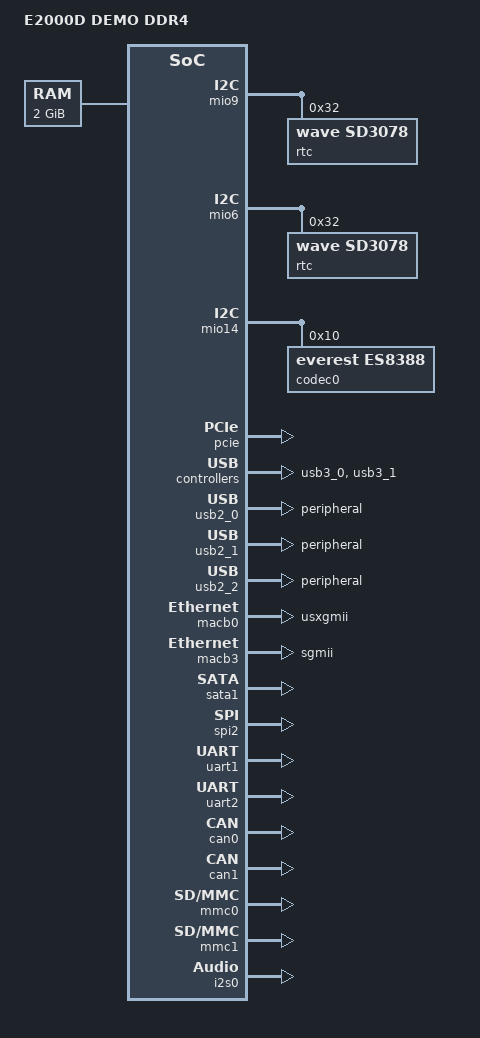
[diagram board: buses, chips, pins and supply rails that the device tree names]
// SPDX-License-Identifier: GPL-2.0
/*
 * DTS file for Phytium E2000D demo board
 *
 * Copyright (C) 2022, Phytium Technology Co., Ltd.
 */

/dts-v1/;
/memreserve/ 0x80000000 0x10000;

#include "e2000d.dtsi"

/{
	model = "E2000D DEMO DDR4";
	compatible = "phytium,e2000d";

	chosen {
		stdout-path = "serial1:115200n8";
	};

	memory@00{
		device_type = "memory";
		reg = <0x0 0x80000000 0x0 0x80000000>;
	};

	sound_card: sound {
		compatible = "simple-audio-card";
		simple-audio-card,format = "i2s";
		simple-audio-card,name = "phytium,e2000-i2s-audio";
		simple-audio-card,cpu {
			sound-dai = <&i2s0>;
		};
		simple-audio-card,codec{
			sound-dai = <&codec0>;
		};
	};
};

&soc {
	mio9: i2c@28026000 {
		compatible = "phytium,i2c";
		reg = <0x0 0x28026000 0x0 0x1000>;
		interrupts = <GIC_SPI 101 IRQ_TYPE_LEVEL_HIGH>;
		clocks = <&sysclk_50mhz>;
		#address-cells = <1>;
		#size-cells = <0>;
		status = "okay";

		rtc@32 {
			compatible = "wave,sd3078";
			reg = <0x32>;
		};
	};

	mio6: i2c@28020000 {
		compatible = "phytium,i2c";
		reg = <0x0 0x28020000 0x0 0x1000>;
		interrupts = <GIC_SPI 98 IRQ_TYPE_LEVEL_HIGH>;
		clocks = <&sysclk_50mhz>;
		#address-cells = <1>;
		#size-cells = <0>;
		status = "okay";
		/* temporarily tested by using rtc. */
		rtc@32 {
			compatible = "wave,sd3078";
			reg = <0x32>;
		};
	};

	mio14: i2c@28030000 {
		compatible = "phytium,i2c";
		reg = <0x0 0x28030000 0x0 0x1000>;
		interrupts = <GIC_SPI 106 IRQ_TYPE_LEVEL_HIGH>;
		clocks = <&sysclk_50mhz>;
		#address-cells = <1>;
		#size-cells = <0>;
		status = "okay";

		codec0: es8388@10 {
			#sound-dai-cells = <0>;
			compatible = "everest,es8388";
			reg = <0x10>;
		};
	};
};

&pcie {
	status = "okay";
};

&usb3_0 {
	status = "okay";
};

&usb3_1 {
	status = "okay";
};

&usb2_0 {
	dr_mode = "peripheral";
	status = "okay";
};

&usb2_1 {
	dr_mode = "peripheral";
	status = "okay";
};

&usb2_2 {
	dr_mode = "peripheral";
	status = "okay";
};

&macb0 {
	phy-mode = "usxgmii";
	status = "okay";
};

&macb3 {
	phy-mode = "sgmii";
	use-mii;
	status = "okay";
};

&sata1 {
	status = "okay";
};


&spi2 {
	status = "okay";
};

&uart1 {
	status = "okay";
};

&uart2 {
	status = "okay";
};

&can0 {
	status = "okay";
};

&can1 {
	status = "okay";
};

&mmc0 {
	status = "okay";
};

&mmc1 {
	status = "okay";
};

&i2s0 {
	#sound-dai-cells = <0>;
	status = "okay";
};
